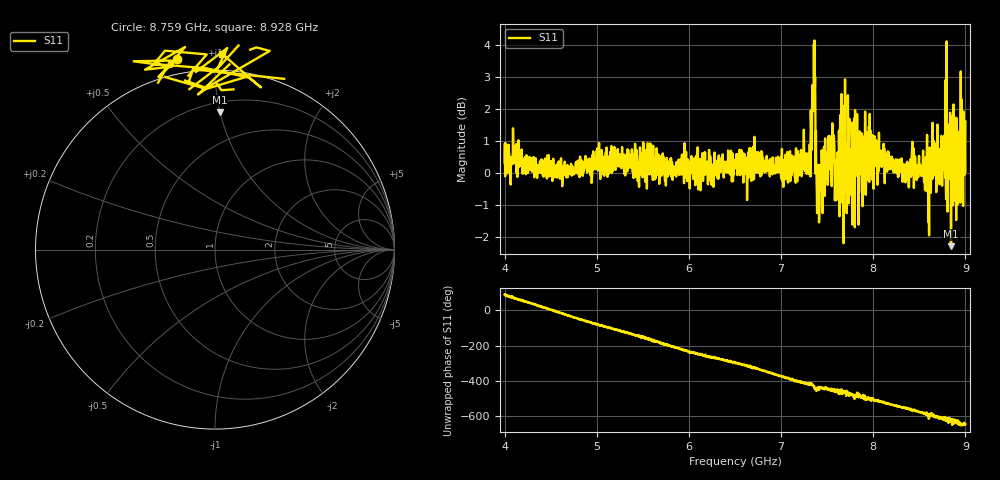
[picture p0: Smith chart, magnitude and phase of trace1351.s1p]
! Created with skrf 1.8.0 (http://scikit-rf.org).
# Hz S RI R 50.0
!freq ReS11 ImS11
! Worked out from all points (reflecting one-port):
!   1601 points, 4 GHz to 9 GHz, reference 50 ohm
!   lowest |S11| = -2.3 dB at 8.844 GHz (marker M1), VSWR 7.61, Z = 13.4 + j49.9 ohm
!   phase of S11 starts at 90 deg and turns -738 deg over the sweep
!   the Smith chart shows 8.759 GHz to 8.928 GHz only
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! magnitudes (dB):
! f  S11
! 4 GHz  0.3
! 4.625 GHz  -0.4
! 5.25 GHz  0.5
! 5.875 GHz  0.0
! 6.5 GHz  0.2
! 7.125 GHz  0.3
! 7.294 GHz  0.5
! 7.347 GHz  2.2
! 7.362 GHz  4.1
! 7.397 GHz  -1.1
! 7.412 GHz  -1.6
! 7.538 GHz  0.5
! 7.609 GHz  -0.4
! 7.669 GHz  0.4
! 7.697 GHz  0.5
! 7.75 GHz  0.7
! 7.775 GHz  1.6
! 7.8 GHz  -1.7
! 7.859 GHz  0.5
! 7.962 GHz  1.8
! 8.375 GHz  -0.2
! 8.438 GHz  0.8
! 8.612 GHz  0.8
! 8.656 GHz  1.0
! 8.775 GHz  1.2
! 8.844 GHz  -2.3
! 8.972 GHz  0.2
! 9 GHz  0.0
